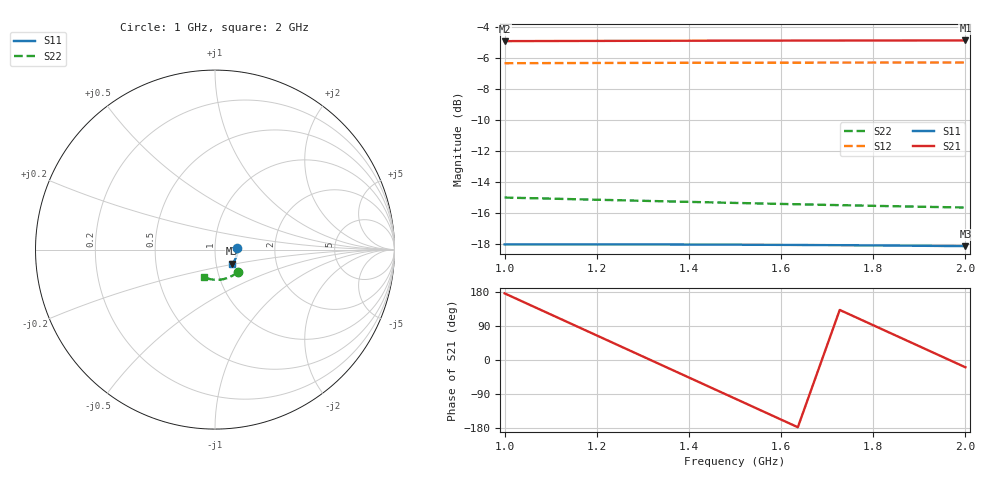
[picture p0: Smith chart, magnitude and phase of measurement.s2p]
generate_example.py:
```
from __future__ import annotations

from pathlib import Path

import numpy as np

from rfdeembed188.deembed import s_to_transmission, transmission_to_s
from rfdeembed188.touchstone import write_touchstone


def frequency_dependent(base: np.ndarray, frequencies: np.ndarray, scale: np.ndarray) -> np.ndarray:
    factor = (frequencies[:, None, None] - 100.0e6) / 100.0e6
    values = np.broadcast_to(base, (frequencies.size, 2, 2)).copy().astype(np.complex128)
    values += factor * np.broadcast_to(scale, (frequencies.size, 2, 2)).astype(np.complex128)
    return values


DEVICE = np.array([
    [0.10 + 0.02j, 0.05 - 0.03j],
    [0.70 + 0.05j, -0.15 + 0.01j],
], dtype=np.complex128)
DEVICE_SCALE = np.array([
    [0.010 + 0.004j, -0.004 + 0.002j],
    [-0.020 + 0.006j, 0.012 - 0.003j],
], dtype=np.complex128)
LEFT = np.array([
    [0.03 - 0.01j, 0.02 + 0.01j],
    [0.91 + 0.04j, 0.04 - 0.02j],
], dtype=np.complex128)
LEFT_SCALE = np.array([
    [0.004j, 0.003 - 0.002j],
    [-0.012 + 0.003j, -0.003j],
], dtype=np.complex128)
RIGHT = np.array([
    [-0.08 + 0.03j, 0.04 - 0.02j],
    [0.84 - 0.07j, 0.07 + 0.02j],
], dtype=np.complex128)
RIGHT_SCALE = np.array([
    [-0.004 - 0.002j, 0.002j],
    [0.010 - 0.004j, 0.005 + 0.001j],
], dtype=np.complex128)


def main() -> None:
    output = Path(__file__).resolve().parent
    measurement_frequencies = np.array([100.0e6, 150.0e6, 200.0e6])
    left_frequencies = np.array([50.0e6, 125.0e6, 250.0e6])
    right_frequencies = np.array([75.0e6, 175.0e6, 300.0e6])

    device_s = frequency_dependent(DEVICE, measurement_frequencies, DEVICE_SCALE)
    left_s = frequency_dependent(LEFT, left_frequencies, LEFT_SCALE)
    right_s = frequency_dependent(RIGHT, right_frequencies, RIGHT_SCALE)

    left_at_measurement = frequency_dependent(LEFT, measurement_frequencies, LEFT_SCALE)
    right_at_measurement = frequency_dependent(RIGHT, measurement_frequencies, RIGHT_SCALE)
    measured_t = (
        s_to_transmission(left_at_measurement, measurement_frequencies, "left")
        @ s_to_transmission(device_s, measurement_frequencies, "device")
        @ s_to_transmission(right_at_measurement, measurement_frequencies, "right")
    )
    measured_s = transmission_to_s(measured_t, measurement_frequencies, "measurement")

    (output / "measurement.s2p").write_bytes(write_touchstone(measurement_frequencies, measured_s, 50.0))
    (output / "left_fixture.s2p").write_bytes(write_touchstone(left_frequencies, left_s, 50.0))
    (output / "right_fixture.s2p").write_bytes(write_touchstone(right_frequencies, right_s, 50.0))


if __name__ == "__main__":
    main()
```
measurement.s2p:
! rfdeembed188 example: measurement
# Hz S RI R 50
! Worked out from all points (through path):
!   12 points, 1 GHz to 2 GHz, reference 50 ohm
!   highest |S21| = -4.89 dB at 2 GHz (marker M1); lowest = -4.9 dB at 1 GHz (marker M2)
!   lowest |S11| = -18.2 dB at 2 GHz (marker M3), VSWR 1.28, Z = 59.9 - j9.43 ohm
!   |S11| at or under -10 dB: start of sweep to end of sweep
!   |S22| runs from -15.7 to -15.0 dB; largest |S21 - S12| = 1
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1e9  0.1252 0.00634  -0.565 0.0412  -0.3811 0.2934  0.1268 -0.1241
1.090909e9  0.1253 -0.00195  -0.3281 0.4624  -0.4813 0.00464  0.1122 -0.1358
1.181818e9  0.1249 -0.0102  0.1479 0.5477  -0.3872 -0.2864  0.0965 -0.1458
1.272727e9  0.124 -0.0185  0.5169 0.2348  -0.1366 -0.4622  0.0798 -0.1541
1.363636e9  0.1224 -0.0266  0.5104 -0.2493  0.1695 -0.4515  0.0624 -0.1606
1.454545e9  0.1203 -0.0346  0.1327 -0.5527  0.4075 -0.2584  0.0445 -0.1652
1.545455e9  0.1176 -0.0425  -0.3418 -0.4544  0.4811 0.0393  0.0262 -0.1679
1.636364e9  0.1143 -0.0501  -0.5683 -0.0257  0.3605 0.3214  0.00783 -0.1686
1.818182e9  0.1063 -0.0645  0.0824 0.5632  -0.2104 0.4349  -0.0286 -0.1642
1.909091e9  0.1016 -0.0712  0.4868 0.2951  -0.4301 0.2204  -0.0462 -0.1591
2e9  0.0964 -0.0775  0.5376 -0.1875  -0.4761 -0.0833  -0.0631 -0.1522
